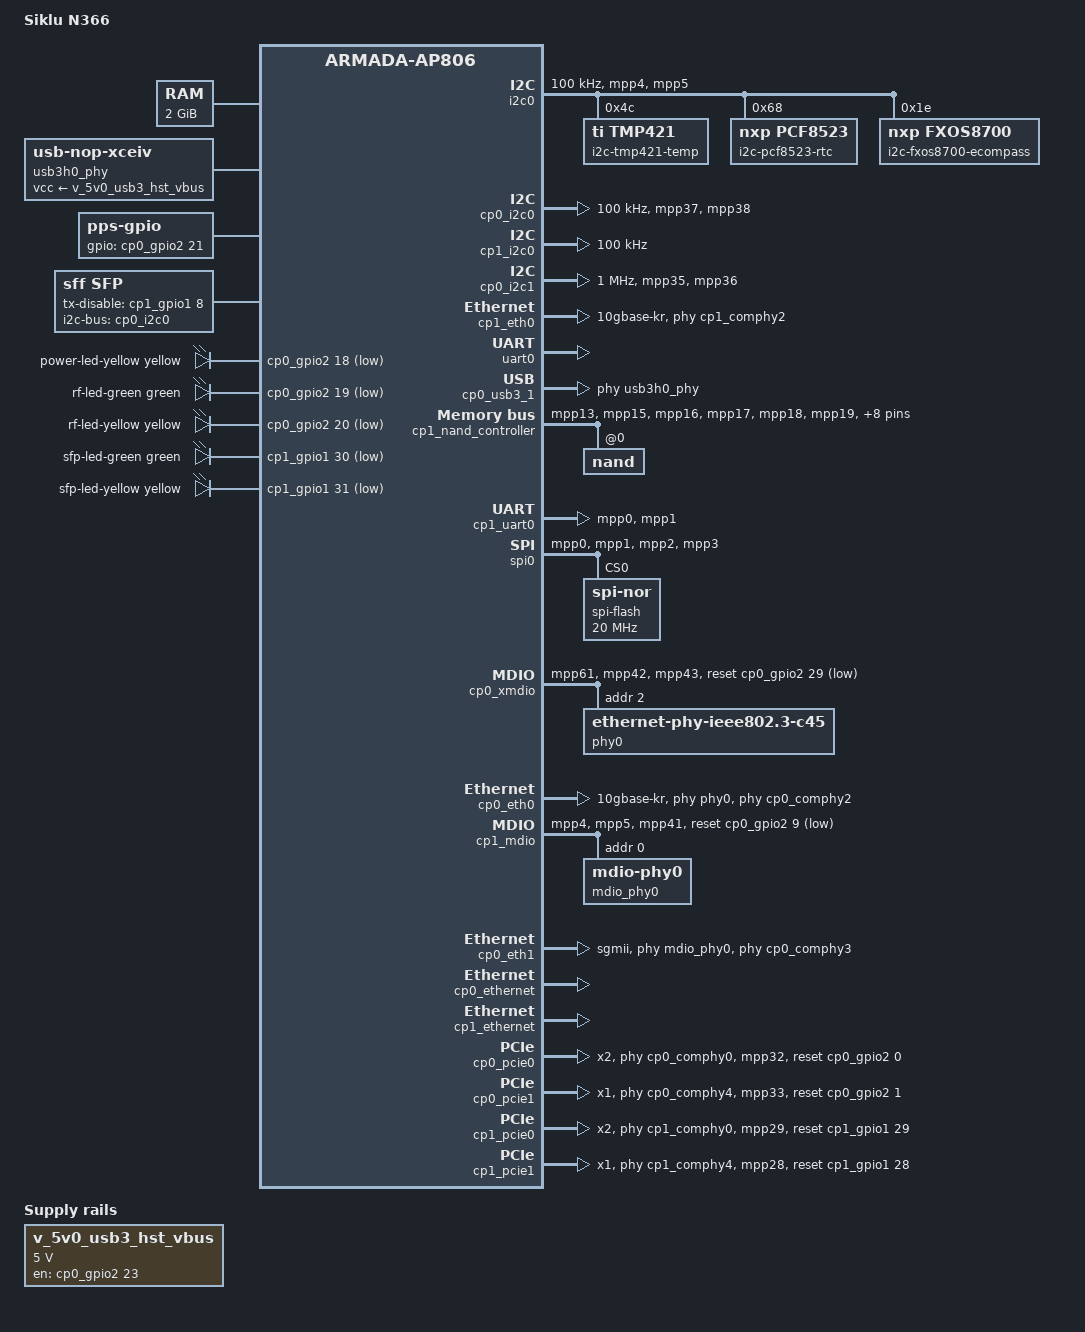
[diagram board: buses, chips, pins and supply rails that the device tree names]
#include "armada-8040.dtsi"

#include <dt-bindings/gpio/gpio.h>
#include <dt-bindings/leds/common.h>

/ {
	model = "Siklu N366";
	compatible =  "siklu,n366", "marvell,armada8040",
			"marvell,armada-ap806-quad", "marvell,armada-ap806";

	chosen {
		stdout-path = "serial0:115200n8";
		bootargs = "mem=2G cma=128m isolcpus=2,3 ro default_hugepagesz=2m hugepagesz=2m hugepages=256 usbcore.quirks=2357:0601:k";
	};

	memory@00000000 {
		device_type = "memory";
		reg = <0x0 0x0 0x0 0x80000000>;
	};

	/* restart instead of power off */
	restart_poweroff {
		compatible = "restart-poweroff";
	};
 
	reserved-memory {
		ramoops@6fff0000 {
			compatible = "ramoops";
			reg = <0x0 0x6fff0000 0x0 0x10000>;
			record-size = <0x4000>;
		};
	};

	aliases {
	/* For u-boot, set setup mac addresses */
		ethernet0 = &cp0_eth1; /* 1G SGMII Copper */
		ethernet1 = &cp0_eth0; /* 10G Copper */
		ethernet2 = &cp1_eth0; /* 10G SFP */

	/* Setup mac addresses for wigig devices */
		ethernet3 = &wigig0;
		ethernet4 = &wigig1;
		ethernet5 = &wigig2;
		ethernet6 = &wigig3;

		wigig_device_tu = &wigig2;
	};

	/* Declare wigig devices for the gen_node_info_file.sh script */
	wigig_devices {
		/* J13 */
		wigig0: wigig@0 {
			pci-bus = "0000:01:00.0";
		};
		/* J12 */
		wigig1: wigig@1 {
			pci-bus = "0003:01:00.0";
		};
		/* J6 */
		wigig2: wigig@2 {
			pci-bus = "0002:01:00.0";
		};
		/* J5 */
		wigig3: wigig@3 {
			pci-bus = "0001:01:00.0";
		};
	};

	v_5v0_usb3_hst_vbus: regulator-usb3-vbus0 {
		compatible = "regulator-fixed";
		enable-active-high;
		gpio = <&cp0_gpio2 23 GPIO_ACTIVE_HIGH>;
		pinctrl-names = "default";
		pinctrl-0 = <&cp0_xhci_vbus_pins>;
		regulator-name = "v_5v0_usb3_hst_vbus";
		regulator-min-microvolt = <5000000>;
		regulator-max-microvolt = <5000000>;
		status = "okay";
	};

	usb3h0_phy: usb3_phy0 {
		compatible = "usb-nop-xceiv";
		vcc-supply = <&v_5v0_usb3_hst_vbus>;
	};

	pps {
		compatible = "pps-gpio";
		pinctrl-names = "default";
		pinctrl-0 = <&cp0_pps>;
		gpio = <&cp0_gpio2 21 GPIO_ACTIVE_HIGH>;
		capture-clear;
		status = "okay";
	};

	sfp: sfp {
		/* SFP */
		compatible = "sff,sfp";
		i2c-bus = <&cp0_i2c0>;
		tx-disable-gpio = <&cp1_gpio1 8 GPIO_ACTIVE_HIGH>; /* CP1_MPP[8] SFP_P0_TX_DIS */
		pinctrl-names = "default";
		pinctrl-0 = <&cp0_sfpp1_pins &cp1_sfpp1_pins>;
	};

	leds {
		compatible = "gpio-leds";
		pinctrl-names = "default";
		pinctrl-0 = <&cp0_leds &cp1_leds>;

		/*
		 * Remove the green power LED from gpio-leds driver control. The GPIO
		 * driver unconditionally disables blinking when setting output
		 * direction. This conflicts with the requirement to blink the LED
		 * until boot completes.
		 */
/*
		power-led-green {
			gpios = <&cp0_gpio2 17 GPIO_ACTIVE_LOW>;
			color = <LED_COLOR_ID_GREEN>;
			function = LED_FUNCTION_POWER;
			default-state = "off";
		};
*/

		power-led-yellow {
			gpios = <&cp0_gpio2 18 GPIO_ACTIVE_LOW>;
			color = <LED_COLOR_ID_YELLOW>;
			function = LED_FUNCTION_POWER;
			default-state = "keep";
		};

		rf-led-green {
			gpios = <&cp0_gpio2 19 GPIO_ACTIVE_LOW>;
			color = <LED_COLOR_ID_GREEN>;
			function = "rf-indicator";
			default-state = "off";
		};

		rf-led-yellow {
			gpios = <&cp0_gpio2 20 GPIO_ACTIVE_LOW>;
			color = <LED_COLOR_ID_YELLOW>;
			function = "rf-indicator";
			default-state = "off";
		};

		sfp-led-green {
			gpios = <&cp1_gpio1 30 GPIO_ACTIVE_LOW>;
			color = <LED_COLOR_ID_GREEN>;
			function = LED_FUNCTION_LAN;
			default-state = "off";
		};

		sfp-led-yellow {
			gpios = <&cp1_gpio1 31 GPIO_ACTIVE_LOW>;
			color = <LED_COLOR_ID_YELLOW>;
			function = LED_FUNCTION_LAN;
			default-state = "off";
		};
	};
};

/* RTC TEMP eCompass I2C bus */
&i2c0 {
	clock-frequency = <100000>;
	pinctrl-names = "default";
	pinctrl-0 = <&ap_i2c_pins>;
	status = "okay";

	i2c-tmp421-temp@4c {
		compatible = "ti,tmp421";
		reg = <0x4c>;
	};

	i2c-pcf8523-rtc@68 {
		compatible = "nxp,pcf8523";
		reg = <0x68>;
		quartz-load-femtofarads = <7000>;
	};

	i2c-fxos8700-ecompass@1e {
		compatible = "nxp,fxos8700";
		reg = <0x1e>;
	};
};

/* SFP i2c bus */
&cp0_i2c0 {
	clock-frequency = <100000>;
	pinctrl-names = "default";
	pinctrl-0 = <&cp0_i2c0_pins>;
	status = "okay";
};

/* Enable this bus as a workaround. Hold the CP110_GATE_SLOW_IO clock gate
 * enabled to avoid hard lockup when the UART driver toggles the clock.
 */
&cp1_i2c0 {
	clock-frequency = <100000>;
	status = "okay";
};

/* Siklu spider control bus, not connected in product versions */
&cp0_i2c1 {
	clock-frequency = <1000000>;
	pinctrl-names = "default";
	pinctrl-0 = <&cp0_i2c1_pins>;
	status = "okay";
};

/* SFP eth */
&cp1_eth0 {
	phy-mode = "10gbase-kr";
	phys = <&cp1_comphy2 0>;
	phy-names = "sfp-comphy";
	managed = "in-band-status";
	sfp = <&sfp>;
	status = "okay";
	siklu_port_name = "eth3";
};

/* Enable UART console. */
&uart0 {
	status = "okay";
};

/* Enable USB3, lane 1 */
&cp0_usb3_1 {
	usb-phy = <&usb3h0_phy>;
	status = "okay";
};

&cp1_nand_controller {
	pinctrl-0 = <&cp1_nand_pins &cp1_dev_nand_pins>;
	status = "okay";

	nand@0 {
		reg = <0>;
		nand-rb = <0>;
		nand-ecc-step-size = <512>;
		nand-ecc-strength = <8>;
		nand-on-flash-bbt;
	};
};

&cp0_pinctrl {
	pinctrl-0 = <&cp0_hw_version>;

	cp0_xhci_vbus_pins: cp0-xhci-vbus-pins {
		marvell,pins = "mpp55";
		marvell,function = "gpio";
	};

	cp0_sfpp1_pins: sfpp1-pins {
		marvell,pins = "mpp60";
		marvell,function = "gpio";
	};

	cp0_i2c0_pins: i2c0-pins {
		marvell,pins = "mpp37", "mpp38";
		marvell,function = "i2c0";
	};

	cp0_i2c1_pins: i2c1-pins {
		marvell,pins = "mpp35", "mpp36";
		marvell,function = "i2c1";
	};

	phy0_10g_3310_reset_pins: phy0-3310-reset-pins {
		marvell,pins = "mpp61";
		marvell,function = "gpio";
	};

	phy0_1g_1512_reset_pins: phy01-3310-reset-pins {
		marvell,pins = "mpp41";
		marvell,function = "gpio";
	};

	phy0_10g_3310_xmdio_pins: phy0-3310-xmdio-pins {
		marvell,pins = "mpp42", "mpp43";
		marvell,function = "xg";
	};

	cp0_pcie1_pins: cp0-pcie1-pins {
		marvell,pins = "mpp33";
		marvell,function = "gpio";
	};

	cp0_pcie0_pins: cp0-pcie0-pins {
		marvell,pins = "mpp32";
		marvell,function = "gpio";
	};

	/* WG1_Exist_n */
	cp0_pcie1_exist: wgig-pins {
		marvell,pins = "mpp57";
		marvell,function = "gpio";
	};

	cp0_hw_version: cp0-hw-version-pins {
		marvell,pins = "mpp58", "mpp59", "mpp32";
		marvell,function = "gpio";
	};

	cp0_leds: cp0-leds {
		marvell,pins = "mpp49", "mpp50", "mpp51", "mpp52";
		marvell,function = "gpio";
	};

	cp0_pps: cp0-pps {
		marvell,pins = "mpp53";
		marvell,function = "gpio";	
	};
};

&cp1_pinctrl {
	pinctrl-0 = <&cp1_hw_version &cp1_rssi_pwm &cp1_pse_out_led1>;

	cp1_nand_pins: cp0-nand-pins {
		marvell,pins = "mpp13";
		marvell,function = "nf";
	};
	cp1_dev_nand_pins: cp0-dev-nand-pins {
		marvell,pins =  "mpp15", "mpp16", "mpp17",
				"mpp18", "mpp19", "mpp20",
				"mpp21", "mpp22", "mpp23",
				"mpp24", "mpp25", "mpp26",
				"mpp27";
		marvell,function = "dev";
	};

	cp1_sfpp1_pins: sfpp1-pins {
		marvell,pins = "mpp8", "mpp10", "mpp12";
		marvell,function = "gpio";
	};

	cp1_mdio_pins: cp1-mdio-pins {
		marvell,pins = "mpp4", "mpp5";
		marvell,function = "ge";
	};

	cp1_pcie1_pins: cp1-pcie1-pins {
		marvell,pins = "mpp28";
		marvell,function = "gpio";
	};

	cp1_pcie0_pins: cp1-pcie0-pins {
		marvell,pins = "mpp29";
		marvell,function = "gpio";
	};
	cp1_uart0_pins: cp1-uart0-pins {
		marvell,pins = "mpp0", "mpp1";
		marvell,function = "uart0";
	};

	cp1_hw_version: cp1-hw-version-pins {
		marvell,pins = "mpp7";
		marvell,function = "gpio";
	};

	cp1_pse_out_led1: cp1-pse-out-led1-pins {
		marvell,pins		= "mpp6";
		marvell,function	= "gpio";
	};

	cp1_rssi_pwm: cp1-rssi-pwm-pins {
		marvell,pins		= "mpp14";
		marvell,function	= "gpio";
	};

	cp1_leds: cp1-leds {
		marvell,pins = "mpp30", "mpp31";
		marvell,function = "gpio";
	};
};

&cp1_uart0 {
	pinctrl-0 = <&cp1_uart0_pins>;
	pinctrl-names = "default";
	status = "okay";
};

&ap_pinctrl {
	pinctrl-0 = <&ap_reset_pins &ap_rssi_alignment_mode>;
	pinctrl-names = "default";

	ap_spi_pins: ap-spi-pins {
		marvell,pins		= "mpp0", "mpp1", "mpp2", "mpp3";
		marvell,function	= "spi0";
	};

	ap_reset_pins: ap-reset-pins {
		marvell,pins = "mpp12";
		marvell,function = "gpio";
	};

	ap_i2c_pins: ap-i2c-pins {
		marvell,pins		= "mpp4", "mpp5";
		marvell,function	= "i2c0";
	};

	ap_rssi_alignment_mode: ap-rssi-alignment-mode {
		marvell,pins		= "mpp8";
		marvell,function	= "gpio";
	};
	
	ap_gps_reset: ap-gps-reset-pins {
		marvell,pins		= "mpp6";
		marvell,function	= "gpio";
	};
};

&spi0 {
	pinctrl-0 = <&ap_spi_pins>;
	status = "okay";
	pinctrl-names = "default";

	spi-flash@0 {
		status = "okay";
		compatible = "jedec,spi-nor";
		reg = <0>;
		spi-max-frequency = <20000000>;
	};
};

&cp0_xmdio {
	status = "okay";
	pinctrl-names = "default";
	reset-gpios = <&cp0_gpio2 29 GPIO_ACTIVE_LOW>;
	reset-delay-us = <100000>;
	reset-post-delay-us = <100000>;
	pinctrl-0 = <&phy0_10g_3310_reset_pins &phy0_10g_3310_xmdio_pins>;

	phy0: ethernet-phy@2 {
		compatible = "ethernet-phy-ieee802.3-c45";
		reg = <2>;
	};
};

&cp0_eth0 {
	status = "okay";
	siklu_port_name = "eth1";
	phy = <&phy0>;
	phy-mode = "10gbase-kr";
	phys = <&cp0_comphy2 0>;
};

&cp1_mdio {
	status = "okay";
	pinctrl-names = "default";
	pinctrl-0 = <&cp1_mdio_pins &phy0_1g_1512_reset_pins>;
	reset-gpios = <&cp0_gpio2 9 GPIO_ACTIVE_LOW>;
	reset-delay-us = <100000>;
	reset-post-delay-us = <100000>;

	mdio_phy0: mdio-phy0 {
		reg = <0>;
	};
};

&cp0_eth1 {
	status = "okay";
	siklu_port_name = "eth2";
	phy = <&mdio_phy0>;
	phy-mode = "sgmii";
	phys = <&cp0_comphy3 1>;
};

&cp0_ethernet {
	status = "okay";
};

&cp1_ethernet {
	status = "okay";
};

&cp0_pcie0 {
	pinctrl-names = "default";
	pinctrl-0 = <&cp0_pcie0_pins>;
	num-lanes = <2>;
	reset-gpio = <&cp0_gpio2 0 GPIO_ACTIVE_HIGH>;
	phys = <&cp0_comphy0 0>;
	status = "okay";
};

&cp0_pcie1 {
	pinctrl-names = "default";
	pinctrl-0 = <&cp0_pcie1_pins>;
	num-lanes = <1>;
	reset-gpio = <&cp0_gpio2 1 GPIO_ACTIVE_HIGH>;
	phys = <&cp0_comphy4 1>;
	status = "okay";
};

&cp1_pcie0 {
	pinctrl-names = "default";
	pinctrl-0 = <&cp1_pcie0_pins>;
	num-lanes = <2>;
	reset-gpio = <&cp1_gpio1 29 GPIO_ACTIVE_HIGH>;
	phys = <&cp1_comphy0 0>;
	status = "okay";
};

&cp1_pcie1 {
	pinctrl-names = "default";
	pinctrl-0 = <&cp1_pcie1_pins>;
	num-lanes = <1>;
	reset-gpio = <&cp1_gpio1 28 GPIO_ACTIVE_HIGH>;
	phys = <&cp1_comphy4 1>;
	status = "okay";
};

/*
 * DEV-5151: enable emphesis quirk on eth3 in order
 * 			 to work around an issue where two devices
 *			 will enter an endless up/down loop when they
 *			 are connected to each other. 
 */
&cp1_comphy2 {
	enable-emp-quirk = <1>;
};

/* Override trip temps to 105c */
&ap_crit {
	temperature = <105000>; /* mC degrees */
};

&cp1_crit {
	temperature = <105000>; /* mC degrees */
};

&cp0_crit {
	temperature = <105000>; /* mC degrees */
};


&ap_pinctrl {
	pinctrl-0 = <&ap_reset_pins &ap_rssi_alignment_mode>;
	pinctrl-names = "default";

	ap_spi_pins: ap-spi-pins {
		marvell,pins		= "mpp0", "mpp1", "mpp2", "mpp3";
		marvell,function	= "spi0";
	};

	ap_reset_pins: ap-reset-pins {
		marvell,pins = "mpp12";
		marvell,function = "gpio";
	};

	ap_i2c_pins: ap-i2c-pins {
		marvell,pins		= "mpp4", "mpp5";
		marvell,function	= "i2c0";
	};

	ap_rssi_alignment_mode: ap-rssi-alignment-mode {
		marvell,pins		= "mpp8";
		marvell,function	= "gpio";
	};
	
	ap_gps_reset: ap-gps-reset-pins {
		marvell,pins		= "mpp6";
		marvell,function	= "gpio";
	};
};

&ap_gpio {
	status = "okay";

	gpio-line-names = 
		"[spi-flash-sclk]", 
		"[spi-flash-miso]", 
		"[spi-flash-mosi]",
		"[spi-flash-cs0]",
		"[i2c0-sda]", /* connected to &i2c0 */
		"[i2c0-scl]", /* connected to &i2c0 */
		"gps-reset",
		"timepulse_onoff",
		"rssi-indicator",
		"[spi-flash-cs1]", /* connected to a *DNU* SPI NAND CHIP U21 */
		"timepulse-sel2",
		"[gps-uart-tx]",
		"factory-reset-button",
		"", /* Does not exist in chip */
		"", /* Does not exist in chip */
		"", /* Does not exist in chip */
		"", /* Does not exist in chip */
		"", /* Does not exist in chip */
		"", /* Does not exist in chip */
		"[gps-uart-rx]";
};

&cp0_gpio2 {
	status = "okay";

	gpio-line-names = 
		"pcie0_reset_n", 
		"pcie1_reset_n", 
		"bt_poe_n",
		"[cp0_i2c1_sda]", /* connected to &cp0_i2c1 */
		"[cp0_i2c1_sck]", /* connected to &cp0_i2c1 */
		"[cp0_i2c0_sck]", /* connected to &cp0_i2c0 */
		"[cp0_i2c0_sda]", /* connected to &cp0_i2c0 */
		"poe_pairs",
		"phy_p0_int_n",
		"phy_p0_rst_n", 
		"[cp0_xmdc]",
		"[cp0_xmdio]",
		"[pcie0_clock_config_cp0]",
		"cp0_mpp45",
		"cp0_mpp46",
		"cp0_mpp47",
		"[pcie1_clock_config_cp0]",
		"pwr_led_g",
		"pwr_led_y",
		"mdm_led_g",
		"mdm_led_y",
		"timepulse_8040cpu",
		"eth1_led_g_y",
		"usb_enable",
		"wg0_exist_n",
		"wg1_exist_n",
		"wg0_disable_n",
		"wg1_disable_n",
		"sfp_p0_exist",
		"10g_phy0_rstn",
		"10g_phy0_intn";
};


&cp1_gpio1 {
	status = "okay";

	gpio-line-names = 
		"[cp1_ua0_rx]",  /* GPS UART RX */
		"[cp1_ua0_tx]",  /* GPS UART TX */
		"pse_led2", 	 /* GPIO, IN , PSE ISO7742DW */
		"pse_rst_n", 	 /* GPIO, OUT, PSE ISO7742DW */
		"[cp1_mdc]",     /* 1510 PHY */
		"[cp1_mdio]", 	 /* 1510 PHY */
		"pse_led1",		 /* GPIO, IN , PSE ISO7742DW */
		"wg2_disable_n", /* useless, passed to the Wigig Modem */
		"sfp_p0_tx_dis", /* GPIO, OUT, SFP */
		"[pcie0_clock_config_cp1]", 
		"sfp_p0_los_s",  /* GPIO, IN , SFP */
		"[pcie1_clock_config_cp1]",
		"sfp_p0_fault",	 /* GPIO, IN , SFP */
		"[nand_rb]",
		"rssi_ctrl",
		"[nand_ad7]", 
		"[nand_ad6]", 
		"[nand_ad5]", 
		"[nand_ad4]", 
		"[nand_ad3]", 
		"[nand_ad2]", 
		"[nand_ad1]",
		"[nand_ad0]",
		"[nand_ale]",
		"[nand_cle]",
		"[nand_re_n]",
		"[nand_we_n]",
		"[nand_ce0_n]",
		"[pcie3_perst_n]",
		"[pcie2_perst_n]",
		"[sfp_led_g]",
		"[sfp_led_y]";
};
